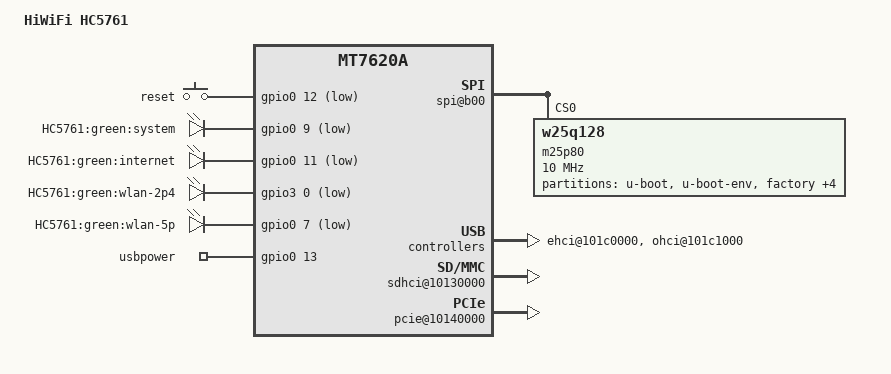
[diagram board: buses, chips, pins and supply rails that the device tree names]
/dts-v1/;

/include/ "mt7620a.dtsi"

/ {
	compatible = "HiWiFi-HC5761", "ralink,mt7620a-soc";
	model = "HiWiFi HC5761";

	chosen {
		bootargs = "console=ttyS0,115200";
	};

	palmbus@10000000 {
		sysc@0 {
			ralink,gpiomux = "i2c", "jtag";
			ralink,uartmux = "gpio";
			ralink,wdtmux = <1>;
		};
		gpio0: gpio@600 {
			status = "okay";
		};
		gpio2: gpio@660 {
			status = "okay";
		};
		gpio3: gpio@688 {
			status = "okay";
		};

		spi@b00 {
			status = "okay";

			m25p80@0 {
				#address-cells = <1>;
				#size-cells = <1>;
				compatible = "w25q128";
				reg = <0 0>;
				linux,modalias = "m25p80", "w25q128";
				spi-max-frequency = <10000000>;

				partition@0 {
					label = "u-boot";
					reg = <0x0 0x30000>;
					read-only;
				};

				partition@30000 {
					label = "u-boot-env";
					reg = <0x30000 0x10000>;
					read-only;
				};

				factory: partition@40000 {
					label = "factory";
					reg = <0x40000 0x10000>;
					read-only;
				};

				partition@50000 {
					label = "firmware";
					reg = <0x50000 0xf80000>;
				};

				partition@fd0000 {
					label = "hwf_config";
					reg = <0xfd0000 0x10000>;
				};

				partition@fe0000 {
					label = "bdinfo";
					reg = <0xfe0000 0x10000>;
				};

				partition@ff0000 {
					label = "backup";
					reg = <0xff0000 0x10000>;
				};
			};
		};
	};

	ehci@101c0000 {
		status = "okay";
	};

	ohci@101c1000 {
		status = "okay";
	};

	sdhci@10130000 {
		status = "okay";
	};

	pcie@10140000 {
		status = "okay";

		pcie-bridge {
			mt76@0,0 {
				reg = <0x0000 0 0 0 0>;
				device_type = "pci";
				mediatek,mtd-eeprom = <&factory 32768>;
				mediatek,2ghz = <0>;
			};
		};
	};

	wmac@10180000 {
		ralink,mtd-eeprom = <&factory 0>;
	};

	pinctrl {
		state_default: pinctrl0 {
			gpio {
				ralink,group = "uartf", "wled", "nd_sd";
				ralink,function = "gpio";
			};
			pa {
				ralink,group = "pa";
				ralink,function = "pa";
			};
		};
	};

	ethernet@10100000 {
		pinctrl-names = "default";
		pinctrl-0 = <&ephy_pins>;
		mtd-mac-address = <&factory 0x4>;
		ralink,port-map = "llllw";
	};
	
	gpio-keys-polled {
		compatible = "gpio-keys-polled";
		#address-cells = <1>;
		#size-cells = <0>;
		poll-interval = <20>;
		reset {
			label = "reset";
			gpios = <&gpio0 12 1>;
			linux,code = <0x198>;
		};
	};

	gpio-leds {
		compatible = "gpio-leds";
		system {
			label = "HC5761:green:system";
			gpios = <&gpio0 9 1>;
		};
		internet {
			label = "HC5761:green:internet";
			gpios = <&gpio0 11 1>;
		};
		wlan2p4 {
			label = "HC5761:green:wlan-2p4";
			gpios = <&gpio3 0 1>;
		};
		wlan5p {
			label = "HC5761:green:wlan-5p";
			gpios = <&gpio0 7 1>;
		};
	};

	gpio_export {
		compatible = "gpio-export";
		#size-cells = <0>;
		usbpower {
			gpio-export,name = "usbpower";
			gpio-export,output = <1>;
			gpios = <&gpio0 13 0>;
		};
	};

};
